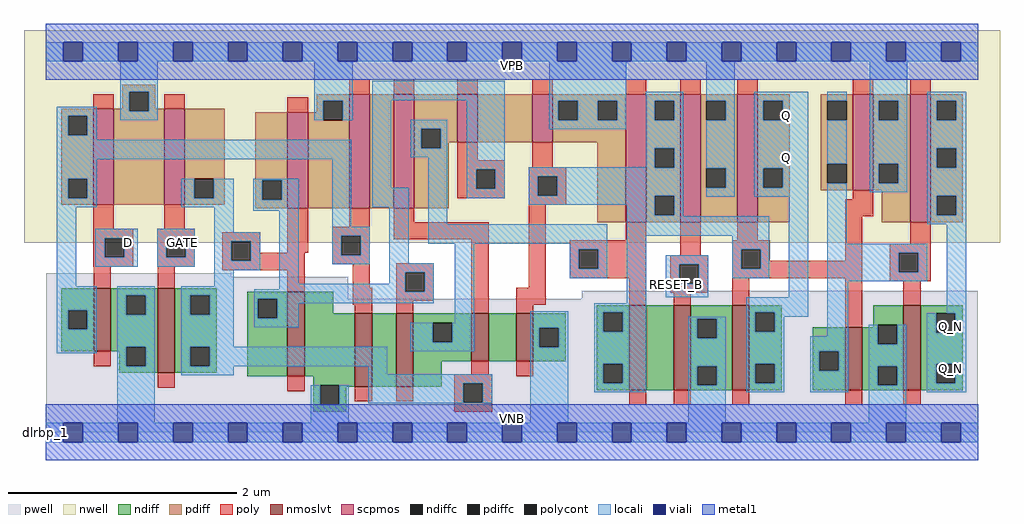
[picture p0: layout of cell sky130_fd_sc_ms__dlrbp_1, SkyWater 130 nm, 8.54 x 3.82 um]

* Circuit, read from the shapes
.subckt sky130_fd_sc_ms__dlrbp_1 D GATE RESET_B VGND VNB VPB VPWR Q Q_N
XM1 VGND D n1 VNB sky130_fd_pr__nfet_01v8_lvt w=0.55 l=0.15
XM2 n2 GATE VGND VNB sky130_fd_pr__nfet_01v8_lvt w=0.74 l=0.15
XM3 VGND n2 n3 VNB sky130_fd_pr__nfet_01v8_lvt w=0.74 l=0.15
XM4 n4 n1 VGND VNB sky130_fd_pr__nfet_01v8_lvt w=0.64 l=0.15
XM5 n5 n3 n4 VNB sky130_fd_pr__nfet_01v8_lvt w=0.64 l=0.15
XM6 n6 n2 n5 VNB sky130_fd_pr__nfet_01v8_lvt w=0.42 l=0.15
XM7 VGND n7 n6 VNB sky130_fd_pr__nfet_01v8_lvt w=0.42 l=0.15
XM8 n8 n5 n7 VNB sky130_fd_pr__nfet_01v8_lvt w=0.74 l=0.15
XM9 VGND RESET_B n8 VNB sky130_fd_pr__nfet_01v8_lvt w=0.74 l=0.15
XM10 Q n7 VGND VNB sky130_fd_pr__nfet_01v8_lvt w=0.74 l=0.15
XM11 VGND n7 n9 VNB sky130_fd_pr__nfet_01v8_lvt w=0.55 l=0.15
XM12 Q_N n9 VGND VNB sky130_fd_pr__nfet_01v8_lvt w=0.74 l=0.15
XM13 VPWR D n1 VPB sky130_fd_pr__pfet_01v8 w=0.84 l=0.18
XM14 n2 GATE VPWR VPB sky130_fd_pr__pfet_01v8 w=0.84 l=0.18
XM15 VPWR n2 n3 VPB sky130_fd_pr__pfet_01v8 w=0.84 l=0.18
XM16 n10 n1 VPWR VPB sky130_fd_pr__pfet_01v8 w=1 l=0.18
XM17 n5 n2 n10 VPB sky130_fd_pr__pfet_01v8 w=1 l=0.18
XM18 n11 n3 n5 VPB sky130_fd_pr__pfet_01v8 w=0.42 l=0.18
XM19 VPWR n7 n11 VPB sky130_fd_pr__pfet_01v8 w=0.42 l=0.18
XM20 n7 n5 VPWR VPB sky130_fd_pr__pfet_01v8 w=1.12 l=0.18
XM21 VPWR RESET_B n7 VPB sky130_fd_pr__pfet_01v8 w=1.12 l=0.18
XM22 Q n7 VPWR VPB sky130_fd_pr__pfet_01v8 w=1.12 l=0.18
XM23 VPWR n7 n9 VPB sky130_fd_pr__pfet_01v8 w=0.84 l=0.18
XM24 Q_N n9 VPWR VPB sky130_fd_pr__pfet_01v8 w=1.12 l=0.18
.ends

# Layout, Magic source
magic
tech sky130A
magscale 1 2
<< nwell >>
rect -38 332 1670 704
<< pwell >>
rect 1 272 325 278
rect 1 234 529 272
rect 938 234 1631 248
rect 1 49 1631 234
rect 0 0 1632 49
<< scpmos >>
rect 83 398 119 566
rect 207 398 243 566
rect 423 392 459 560
rect 531 392 567 592
rect 609 392 645 592
rect 720 508 756 592
rect 851 508 887 592
rect 1015 368 1051 592
rect 1110 368 1146 592
rect 1210 368 1246 592
rect 1412 424 1448 592
rect 1513 368 1549 592
<< nmoslvt >>
rect 84 142 114 252
rect 196 104 226 252
rect 423 98 453 246
rect 541 80 571 208
rect 613 80 643 208
rect 745 124 775 208
rect 823 124 853 208
rect 1021 74 1051 222
rect 1099 74 1129 222
rect 1201 74 1231 222
rect 1399 74 1429 184
rect 1501 74 1531 222
<< ndiff >>
rect 27 214 84 252
rect 27 180 39 214
rect 73 180 84 214
rect 27 142 84 180
rect 114 240 196 252
rect 114 206 141 240
rect 175 206 196 240
rect 114 150 196 206
rect 114 142 141 150
rect 129 116 141 142
rect 175 116 196 150
rect 129 104 196 116
rect 226 240 299 252
rect 226 206 253 240
rect 287 206 299 240
rect 226 150 299 206
rect 226 116 253 150
rect 287 116 299 150
rect 226 104 299 116
rect 353 234 423 246
rect 353 200 371 234
rect 405 200 423 234
rect 353 98 423 200
rect 453 208 503 246
rect 964 210 1021 222
rect 453 98 541 208
rect 468 82 541 98
rect 468 48 480 82
rect 514 80 541 82
rect 571 80 613 208
rect 643 192 745 208
rect 643 158 677 192
rect 711 158 745 192
rect 643 124 745 158
rect 775 124 823 208
rect 853 183 910 208
rect 853 149 864 183
rect 898 149 910 183
rect 853 124 910 149
rect 964 176 976 210
rect 1010 176 1021 210
rect 643 80 693 124
rect 964 120 1021 176
rect 514 48 526 80
rect 468 36 526 48
rect 964 86 976 120
rect 1010 86 1021 120
rect 964 74 1021 86
rect 1051 74 1099 222
rect 1129 199 1201 222
rect 1129 165 1140 199
rect 1174 165 1201 199
rect 1129 116 1201 165
rect 1129 82 1140 116
rect 1174 82 1201 116
rect 1129 74 1201 82
rect 1231 210 1288 222
rect 1231 176 1242 210
rect 1276 176 1288 210
rect 1448 188 1501 222
rect 1448 184 1456 188
rect 1231 120 1288 176
rect 1231 86 1242 120
rect 1276 86 1288 120
rect 1231 74 1288 86
rect 1342 142 1399 184
rect 1342 108 1354 142
rect 1388 108 1399 142
rect 1342 74 1399 108
rect 1429 154 1456 184
rect 1490 154 1501 188
rect 1429 116 1501 154
rect 1429 82 1456 116
rect 1490 82 1501 116
rect 1429 74 1501 82
rect 1531 208 1605 222
rect 1531 174 1558 208
rect 1592 174 1605 208
rect 1531 120 1605 174
rect 1531 86 1558 120
rect 1592 86 1605 120
rect 1531 74 1605 86
<< pdiff >>
rect 134 596 192 608
rect 134 566 146 596
rect 27 554 83 566
rect 27 520 39 554
rect 73 520 83 554
rect 27 444 83 520
rect 27 410 39 444
rect 73 410 83 444
rect 27 398 83 410
rect 119 562 146 566
rect 180 566 192 596
rect 180 562 207 566
rect 119 398 207 562
rect 243 444 313 566
rect 474 580 531 592
rect 474 560 486 580
rect 243 410 260 444
rect 294 410 313 444
rect 243 398 313 410
rect 367 441 423 560
rect 367 407 379 441
rect 413 407 423 441
rect 367 392 423 407
rect 459 546 486 560
rect 520 546 531 580
rect 459 392 531 546
rect 567 392 609 592
rect 645 531 720 592
rect 645 497 657 531
rect 691 508 720 531
rect 756 508 851 592
rect 887 580 1015 592
rect 887 546 897 580
rect 931 546 966 580
rect 1000 546 1015 580
rect 887 508 1015 546
rect 691 497 705 508
rect 645 392 705 497
rect 965 368 1015 508
rect 1051 580 1110 592
rect 1051 546 1066 580
rect 1100 546 1110 580
rect 1051 497 1110 546
rect 1051 463 1066 497
rect 1100 463 1110 497
rect 1051 414 1110 463
rect 1051 380 1066 414
rect 1100 380 1110 414
rect 1051 368 1110 380
rect 1146 580 1210 592
rect 1146 546 1156 580
rect 1190 546 1210 580
rect 1146 462 1210 546
rect 1146 428 1156 462
rect 1190 428 1210 462
rect 1146 368 1210 428
rect 1246 580 1302 592
rect 1246 546 1256 580
rect 1290 546 1302 580
rect 1246 462 1302 546
rect 1246 428 1256 462
rect 1290 428 1302 462
rect 1246 368 1302 428
rect 1356 580 1412 592
rect 1356 546 1368 580
rect 1402 546 1412 580
rect 1356 470 1412 546
rect 1356 436 1368 470
rect 1402 436 1412 470
rect 1356 424 1412 436
rect 1448 580 1513 592
rect 1448 546 1458 580
rect 1492 546 1513 580
rect 1448 470 1513 546
rect 1448 436 1458 470
rect 1492 436 1513 470
rect 1448 424 1513 436
rect 1463 368 1513 424
rect 1549 580 1605 592
rect 1549 546 1559 580
rect 1593 546 1605 580
rect 1549 497 1605 546
rect 1549 463 1559 497
rect 1593 463 1605 497
rect 1549 414 1605 463
rect 1549 380 1559 414
rect 1593 380 1605 414
rect 1549 368 1605 380
<< ndiffc >>
rect 39 180 73 214
rect 141 206 175 240
rect 141 116 175 150
rect 253 206 287 240
rect 253 116 287 150
rect 371 200 405 234
rect 480 48 514 82
rect 677 158 711 192
rect 864 149 898 183
rect 976 176 1010 210
rect 976 86 1010 120
rect 1140 165 1174 199
rect 1140 82 1174 116
rect 1242 176 1276 210
rect 1242 86 1276 120
rect 1354 108 1388 142
rect 1456 154 1490 188
rect 1456 82 1490 116
rect 1558 174 1592 208
rect 1558 86 1592 120
<< pdiffc >>
rect 39 520 73 554
rect 39 410 73 444
rect 146 562 180 596
rect 260 410 294 444
rect 379 407 413 441
rect 486 546 520 580
rect 657 497 691 531
rect 897 546 931 580
rect 966 546 1000 580
rect 1066 546 1100 580
rect 1066 463 1100 497
rect 1066 380 1100 414
rect 1156 546 1190 580
rect 1156 428 1190 462
rect 1256 546 1290 580
rect 1256 428 1290 462
rect 1368 546 1402 580
rect 1368 436 1402 470
rect 1458 546 1492 580
rect 1458 436 1492 470
rect 1559 546 1593 580
rect 1559 463 1593 497
rect 1559 380 1593 414
<< poly >>
rect 83 566 119 592
rect 531 592 567 618
rect 609 592 645 618
rect 720 592 756 618
rect 851 592 887 618
rect 1015 592 1051 618
rect 1110 592 1146 618
rect 1210 592 1246 618
rect 1412 592 1448 618
rect 1513 592 1549 618
rect 207 566 243 592
rect 423 560 459 586
rect 83 356 119 398
rect 207 356 243 398
rect 720 476 756 508
rect 720 460 803 476
rect 851 464 887 508
rect 720 426 753 460
rect 787 426 803 460
rect 720 410 803 426
rect 845 448 911 464
rect 845 414 861 448
rect 895 414 911 448
rect 845 398 911 414
rect 83 340 153 356
rect 83 306 103 340
rect 137 306 153 340
rect 83 290 153 306
rect 195 340 261 356
rect 195 306 211 340
rect 245 306 261 340
rect 195 290 261 306
rect 309 334 375 350
rect 309 300 325 334
rect 359 314 375 334
rect 423 314 459 392
rect 531 360 567 392
rect 501 344 567 360
rect 359 300 453 314
rect 84 252 114 290
rect 196 252 226 290
rect 309 284 453 300
rect 501 310 517 344
rect 551 310 567 344
rect 609 368 645 392
rect 609 338 775 368
rect 501 294 567 310
rect 84 116 114 142
rect 423 246 453 284
rect 537 253 567 294
rect 613 280 679 296
rect 196 78 226 104
rect 537 223 571 253
rect 541 208 571 223
rect 613 246 629 280
rect 663 246 679 280
rect 613 230 679 246
rect 613 208 643 230
rect 745 208 775 338
rect 845 253 875 398
rect 1412 408 1448 424
rect 1399 378 1448 408
rect 1015 336 1051 368
rect 917 320 1051 336
rect 917 286 933 320
rect 967 286 1051 320
rect 1110 310 1146 368
rect 1210 336 1246 368
rect 1201 320 1267 336
rect 917 270 1051 286
rect 823 223 875 253
rect 823 208 853 223
rect 1021 222 1051 270
rect 1093 294 1159 310
rect 1093 260 1109 294
rect 1143 260 1159 294
rect 1093 244 1159 260
rect 1201 286 1217 320
rect 1251 300 1267 320
rect 1399 300 1429 378
rect 1513 330 1549 368
rect 1251 286 1429 300
rect 1201 270 1429 286
rect 1099 222 1129 244
rect 1201 222 1231 270
rect 423 72 453 98
rect 745 102 775 124
rect 715 86 781 102
rect 823 98 853 124
rect 541 54 571 80
rect 613 54 643 80
rect 715 52 731 86
rect 765 52 781 86
rect 1399 184 1429 270
rect 1477 314 1549 330
rect 1477 280 1493 314
rect 1527 280 1549 314
rect 1477 264 1549 280
rect 1501 222 1531 264
rect 715 36 781 52
rect 1021 48 1051 74
rect 1099 48 1129 74
rect 1201 48 1231 74
rect 1399 48 1429 74
rect 1501 48 1531 74
<< polycont >>
rect 753 426 787 460
rect 861 414 895 448
rect 103 306 137 340
rect 211 306 245 340
rect 325 300 359 334
rect 517 310 551 344
rect 629 246 663 280
rect 933 286 967 320
rect 1109 260 1143 294
rect 1217 286 1251 320
rect 731 52 765 86
rect 1493 280 1527 314
<< locali >>
rect 0 649 31 683
rect 65 649 127 683
rect 161 649 223 683
rect 257 649 319 683
rect 353 649 415 683
rect 449 649 511 683
rect 545 649 607 683
rect 641 649 703 683
rect 737 649 799 683
rect 833 649 895 683
rect 929 649 991 683
rect 1025 649 1087 683
rect 1121 649 1183 683
rect 1217 649 1279 683
rect 1313 649 1375 683
rect 1409 649 1471 683
rect 1505 649 1567 683
rect 1601 649 1632 683
rect 130 596 196 649
rect 19 554 89 570
rect 19 520 39 554
rect 73 520 89 554
rect 130 562 146 596
rect 180 562 196 596
rect 130 546 196 562
rect 470 580 537 649
rect 470 546 486 580
rect 520 546 537 580
rect 571 581 803 615
rect 19 512 89 520
rect 19 478 535 512
rect 19 444 89 478
rect 19 410 39 444
rect 73 410 89 444
rect 19 394 89 410
rect 237 410 260 444
rect 294 410 329 444
rect 237 394 329 410
rect 19 256 53 394
rect 87 340 161 356
rect 87 306 103 340
rect 137 306 161 340
rect 87 290 161 306
rect 195 340 261 356
rect 195 306 211 340
rect 245 306 261 340
rect 195 290 261 306
rect 295 350 329 394
rect 363 441 443 444
rect 363 407 379 441
rect 413 407 443 441
rect 363 388 443 407
rect 295 334 375 350
rect 295 300 325 334
rect 359 300 375 334
rect 295 284 375 300
rect 295 256 329 284
rect 19 214 89 256
rect 19 180 39 214
rect 73 180 89 214
rect 19 138 89 180
rect 125 240 191 256
rect 125 206 141 240
rect 175 206 191 240
rect 125 150 191 206
rect 125 116 141 150
rect 175 116 191 150
rect 125 17 191 116
rect 237 240 329 256
rect 409 260 443 388
rect 501 360 535 478
rect 571 428 605 581
rect 639 531 703 547
rect 639 497 657 531
rect 691 497 703 531
rect 639 481 703 497
rect 571 394 635 428
rect 501 344 567 360
rect 501 310 517 344
rect 551 310 567 344
rect 501 294 567 310
rect 601 296 635 394
rect 669 364 703 481
rect 737 460 803 581
rect 881 580 1016 649
rect 881 546 897 580
rect 931 546 966 580
rect 1000 546 1016 580
rect 881 530 1016 546
rect 1050 580 1116 596
rect 1050 546 1066 580
rect 1100 546 1116 580
rect 1050 497 1116 546
rect 1050 464 1066 497
rect 737 426 753 460
rect 787 426 803 460
rect 737 410 803 426
rect 845 463 1066 464
rect 1100 463 1116 497
rect 845 448 1116 463
rect 845 414 861 448
rect 895 414 1116 448
rect 845 398 1066 414
rect 1017 380 1066 398
rect 1100 380 1116 414
rect 1156 580 1206 649
rect 1190 546 1206 580
rect 1156 462 1206 546
rect 1190 428 1206 462
rect 1156 412 1206 428
rect 1240 580 1334 596
rect 1240 546 1256 580
rect 1290 546 1334 580
rect 1240 462 1334 546
rect 1240 428 1256 462
rect 1290 428 1334 462
rect 1240 412 1334 428
rect 1017 378 1116 380
rect 669 330 983 364
rect 601 280 679 296
rect 601 260 629 280
rect 409 250 629 260
rect 237 206 253 240
rect 287 206 329 240
rect 237 150 329 206
rect 365 246 629 250
rect 663 246 679 280
rect 365 234 679 246
rect 365 200 371 234
rect 405 226 679 234
rect 405 200 443 226
rect 365 184 443 200
rect 716 192 750 330
rect 917 320 983 330
rect 917 286 933 320
rect 967 286 983 320
rect 917 270 983 286
rect 1017 344 1266 378
rect 1017 226 1051 344
rect 1201 320 1266 344
rect 1085 294 1159 310
rect 1085 260 1109 294
rect 1143 260 1159 294
rect 1201 286 1217 320
rect 1251 286 1266 320
rect 1201 270 1266 286
rect 1085 236 1159 260
rect 1300 236 1334 412
rect 638 158 677 192
rect 711 158 750 192
rect 237 116 253 150
rect 287 116 598 150
rect 638 142 750 158
rect 848 183 914 212
rect 848 149 864 183
rect 898 149 914 183
rect 237 100 329 116
rect 564 102 598 116
rect 564 86 781 102
rect 464 48 480 82
rect 514 48 530 82
rect 564 52 731 86
rect 765 52 781 86
rect 564 51 781 52
rect 464 17 530 48
rect 848 17 914 149
rect 960 210 1051 226
rect 960 176 976 210
rect 1010 176 1051 210
rect 1226 210 1334 236
rect 960 120 1051 176
rect 960 86 976 120
rect 1010 86 1051 120
rect 960 70 1051 86
rect 1124 199 1190 202
rect 1124 165 1140 199
rect 1174 165 1190 199
rect 1124 116 1190 165
rect 1124 82 1140 116
rect 1174 82 1190 116
rect 1124 17 1190 82
rect 1226 176 1242 210
rect 1276 202 1334 210
rect 1368 580 1402 596
rect 1368 470 1402 546
rect 1368 330 1402 436
rect 1442 580 1508 649
rect 1442 546 1458 580
rect 1492 546 1508 580
rect 1442 470 1508 546
rect 1442 436 1458 470
rect 1492 436 1508 470
rect 1442 420 1508 436
rect 1543 580 1611 596
rect 1543 546 1559 580
rect 1593 546 1611 580
rect 1543 497 1611 546
rect 1543 463 1559 497
rect 1593 463 1611 497
rect 1543 414 1611 463
rect 1543 380 1559 414
rect 1593 380 1611 414
rect 1543 364 1611 380
rect 1368 314 1543 330
rect 1368 280 1493 314
rect 1527 280 1543 314
rect 1368 264 1543 280
rect 1276 176 1292 202
rect 1226 120 1292 176
rect 1368 168 1404 264
rect 1577 208 1611 364
rect 1226 86 1242 120
rect 1276 86 1292 120
rect 1226 70 1292 86
rect 1338 142 1404 168
rect 1338 108 1354 142
rect 1388 108 1404 142
rect 1338 70 1404 108
rect 1440 154 1456 188
rect 1490 154 1506 188
rect 1440 116 1506 154
rect 1440 82 1456 116
rect 1490 82 1506 116
rect 1440 17 1506 82
rect 1542 174 1558 208
rect 1592 174 1611 208
rect 1542 120 1611 174
rect 1542 86 1558 120
rect 1592 86 1611 120
rect 1542 70 1611 86
rect 0 -17 31 17
rect 65 -17 127 17
rect 161 -17 223 17
rect 257 -17 319 17
rect 353 -17 415 17
rect 449 -17 511 17
rect 545 -17 607 17
rect 641 -17 703 17
rect 737 -17 799 17
rect 833 -17 895 17
rect 929 -17 991 17
rect 1025 -17 1087 17
rect 1121 -17 1183 17
rect 1217 -17 1279 17
rect 1313 -17 1375 17
rect 1409 -17 1471 17
rect 1505 -17 1567 17
rect 1601 -17 1632 17
<< viali >>
rect 31 649 65 683
rect 127 649 161 683
rect 223 649 257 683
rect 319 649 353 683
rect 415 649 449 683
rect 511 649 545 683
rect 607 649 641 683
rect 703 649 737 683
rect 799 649 833 683
rect 895 649 929 683
rect 991 649 1025 683
rect 1087 649 1121 683
rect 1183 649 1217 683
rect 1279 649 1313 683
rect 1375 649 1409 683
rect 1471 649 1505 683
rect 1567 649 1601 683
rect 31 -17 65 17
rect 127 -17 161 17
rect 223 -17 257 17
rect 319 -17 353 17
rect 415 -17 449 17
rect 511 -17 545 17
rect 607 -17 641 17
rect 703 -17 737 17
rect 799 -17 833 17
rect 895 -17 929 17
rect 991 -17 1025 17
rect 1087 -17 1121 17
rect 1183 -17 1217 17
rect 1279 -17 1313 17
rect 1375 -17 1409 17
rect 1471 -17 1505 17
rect 1567 -17 1601 17
<< metal1 >>
rect 0 683 1632 715
rect 0 649 31 683
rect 65 649 127 683
rect 161 649 223 683
rect 257 649 319 683
rect 353 649 415 683
rect 449 649 511 683
rect 545 649 607 683
rect 641 649 703 683
rect 737 649 799 683
rect 833 649 895 683
rect 929 649 991 683
rect 1025 649 1087 683
rect 1121 649 1183 683
rect 1217 649 1279 683
rect 1313 649 1375 683
rect 1409 649 1471 683
rect 1505 649 1567 683
rect 1601 649 1632 683
rect 0 617 1632 649
rect 0 17 1632 49
rect 0 -17 31 17
rect 65 -17 127 17
rect 161 -17 223 17
rect 257 -17 319 17
rect 353 -17 415 17
rect 449 -17 511 17
rect 545 -17 607 17
rect 641 -17 703 17
rect 737 -17 799 17
rect 833 -17 895 17
rect 929 -17 991 17
rect 1025 -17 1087 17
rect 1121 -17 1183 17
rect 1217 -17 1279 17
rect 1313 -17 1375 17
rect 1409 -17 1471 17
rect 1505 -17 1567 17
rect 1601 -17 1632 17
rect 0 -49 1632 -17
<< labels >>
flabel pwell s 0 0 1632 49 0 FreeSans 200 0 0 0 VNB
port 5 nsew ground bidirectional
flabel nwell s 0 617 1632 666 0 FreeSans 200 0 0 0 VPB
port 6 nsew power bidirectional
rlabel comment s 0 0 0 0 4 dlrbp_1
flabel metal1 s 0 617 1632 666 0 FreeSans 340 0 0 0 VPWR
port 7 nsew power bidirectional
flabel metal1 s 0 0 1632 49 0 FreeSans 340 0 0 0 VGND
port 4 nsew ground bidirectional
flabel locali s 127 316 161 350 0 FreeSans 340 0 0 0 D
port 1 nsew signal input
flabel locali s 1567 94 1601 128 0 FreeSans 340 0 0 0 Q_N
port 9 nsew signal output
flabel locali s 1567 168 1601 202 0 FreeSans 340 0 0 0 Q_N
port 9 nsew signal output
flabel locali s 1279 464 1313 498 0 FreeSans 340 0 0 0 Q
port 8 nsew signal output
flabel locali s 1279 538 1313 572 0 FreeSans 340 0 0 0 Q
port 8 nsew signal output
flabel locali s 223 316 257 350 0 FreeSans 340 0 0 0 GATE
port 2 nsew clock input
flabel locali s 1087 242 1121 276 0 FreeSans 340 0 0 0 RESET_B
port 3 nsew signal input
<< properties >>
string LEFsite unit
string LEFclass CORE
string FIXED_BBOX 0 0 1632 666
string GDS_FILE $PDKPATH/libs.ref/sky130_fd_sc_ms/gds/sky130_fd_sc_ms.gds
string LEFsymmetry X Y
string GDS_END 2251224
string GDS_START 2238844
<< end >>
